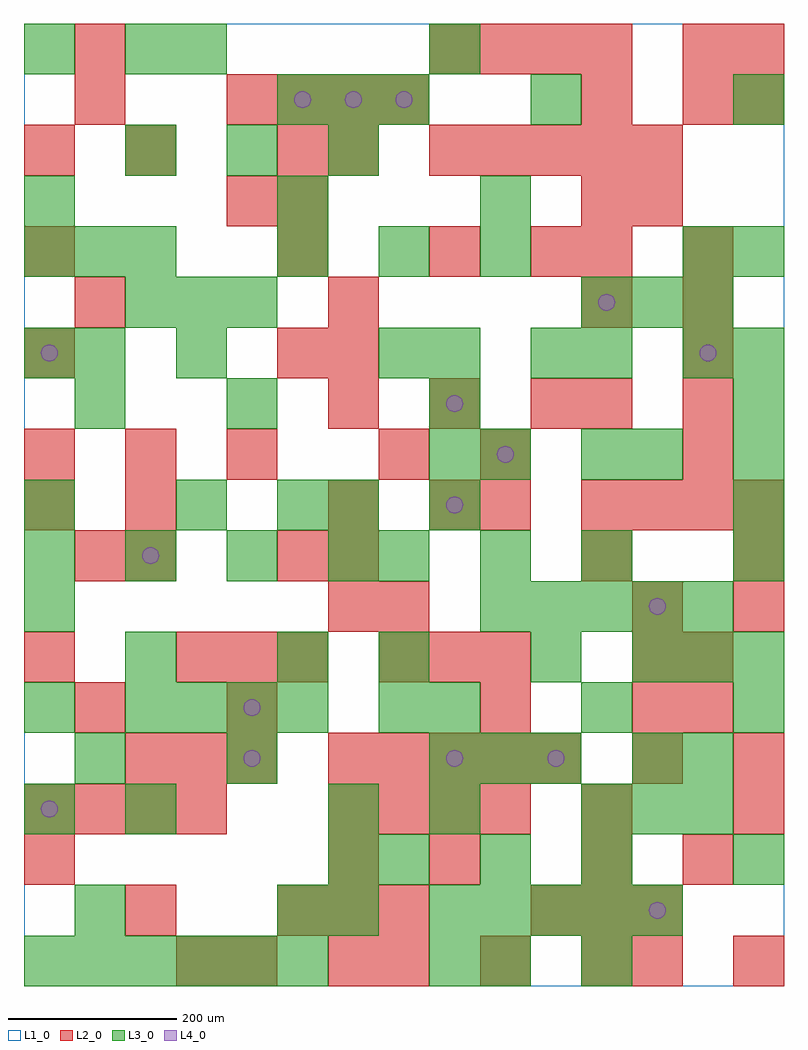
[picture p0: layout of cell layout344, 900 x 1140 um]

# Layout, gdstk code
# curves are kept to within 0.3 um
import gdstk
lib = gdstk.Library(unit=1e-6, precision=1e-09)
def R(c, l, rs):  # rectangles x0, y0, x1, y1
    for r in rs: c.add(gdstk.rectangle(r[:2], r[2:], *l))
def A(c, l, x, y, w, h, nx, ny, dx, dy):  # array of equal rectangles
    R(c, l, [(x+i*dx, y+j*dy, x+i*dx+w, y+j*dy+h) for i in range(nx) for j in range(ny)])
def P(c, l, *ps):  # polygons
    for p in ps: c.add(gdstk.Polygon(p, *l))
L1_0 = (1, 0)
L2_0 = (2, 0)
L3_0 = (3, 0)
L4_0 = (4, 0)

layout344 = lib.new_cell('layout344')
R(layout344, L1_0, [(0,0,900,1140)])
A(layout344, L2_0, 420, 0, 60, 60, 3, 1, 120, 0)
A(layout344, L2_0, 300, 60, 60, 60, 3, 1, 60, 0)
A(layout344, L2_0, 600, 60, 60, 60, 3, 1, 60, 0)
A(layout344, L2_0, 0, 180, 60, 60, 4, 1, 60, 0)
A(layout344, L2_0, 360, 180, 60, 60, 4, 1, 60, 0)
A(layout344, L2_0, 120, 240, 60, 60, 3, 1, 60, 0)
A(layout344, L2_0, 360, 240, 60, 60, 5, 1, 60, 0)
A(layout344, L2_0, 720, 240, 60, 60, 1, 4, 0, 60)
A(layout344, L2_0, 0, 360, 60, 60, 1, 3, 0, 180)
A(layout344, L2_0, 180, 360, 60, 60, 3, 1, 60, 0)
A(layout344, L2_0, 420, 360, 60, 60, 3, 1, 60, 0)
A(layout344, L2_0, 360, 420, 60, 60, 1, 3, 0, 60)
A(layout344, L2_0, 660, 480, 60, 60, 1, 3, 0, 180)
A(layout344, L2_0, 660, 540, 60, 60, 4, 1, 60, 0)
A(layout344, L2_0, 0, 600, 60, 60, 3, 1, 120, 0)
A(layout344, L2_0, 780, 600, 60, 60, 1, 5, 0, 60)
A(layout344, L2_0, 360, 660, 60, 60, 3, 1, 120, 0)
A(layout344, L2_0, 60, 780, 60, 60, 3, 1, 300, 0)
A(layout344, L2_0, 300, 840, 60, 60, 1, 3, 0, 60)
A(layout344, L2_0, 480, 960, 60, 60, 5, 1, 60, 0)
A(layout344, L2_0, 240, 1020, 60, 60, 4, 1, 60, 0)
A(layout344, L2_0, 480, 1080, 60, 60, 4, 1, 60, 0)
R(layout344, L2_0, [(180,0,240,60), (240,0,300,60), (360,0,420,60), (720,0,780,60), (840,0,900,60), (120,60,180,120), (0,120,60,180), (360,120,420,180), (480,120,540,180), (660,120,720,180), (780,120,840,180), (660,180,720,240), (840,180,900,240), (840,240,900,300), (60,300,120,360), (240,300,300,360), (540,300,600,360), (780,300,840,360), (780,360,840,420), (420,420,480,480), (840,420,900,480), (60,480,120,540), (120,480,180,540), (300,480,360,540), (840,480,900,540), (120,540,180,600), (480,540,540,600), (540,540,600,600), (420,600,480,660), (540,600,600,660), (300,720,360,780), (360,720,420,780), (0,840,60,900), (480,840,540,900), (600,840,660,900), (240,900,300,960), (660,900,720,960), (720,900,780,960), (0,960,60,1020), (120,960,180,1020), (360,960,420,1020), (60,1020,120,1080), (660,1020,720,1080), (780,1020,840,1080), (840,1020,900,1080), (60,1080,120,1140), (780,1080,840,1140), (840,1080,900,1140)])
A(layout344, L3_0, 0, 0, 60, 60, 6, 1, 60, 0)
A(layout344, L3_0, 360, 60, 60, 60, 1, 3, 0, 60)
A(layout344, L3_0, 480, 60, 60, 60, 5, 1, 60, 0)
A(layout344, L3_0, 420, 120, 60, 60, 3, 2, 120, 360)
A(layout344, L3_0, 0, 180, 60, 60, 1, 4, 0, 120)
A(layout344, L3_0, 660, 180, 60, 60, 3, 2, 60, 600)
A(layout344, L3_0, 480, 240, 60, 60, 3, 1, 60, 0)
A(layout344, L3_0, 120, 300, 60, 60, 4, 1, 60, 0)
A(layout344, L3_0, 480, 300, 60, 60, 3, 1, 180, 0)
A(layout344, L3_0, 720, 360, 60, 60, 3, 1, 60, 0)
A(layout344, L3_0, 540, 420, 60, 60, 5, 1, 60, 0)
A(layout344, L3_0, 0, 480, 60, 60, 4, 1, 120, 0)
A(layout344, L3_0, 840, 480, 60, 60, 1, 5, 0, 60)
A(layout344, L3_0, 480, 540, 60, 60, 1, 4, 0, 60)
A(layout344, L3_0, 0, 720, 60, 60, 1, 3, 0, 180)
A(layout344, L3_0, 120, 780, 60, 60, 3, 1, 60, 0)
A(layout344, L3_0, 0, 840, 60, 60, 3, 1, 60, 0)
A(layout344, L3_0, 300, 840, 60, 60, 3, 1, 120, 0)
A(layout344, L3_0, 120, 960, 60, 60, 3, 1, 120, 0)
A(layout344, L3_0, 300, 1020, 60, 60, 3, 1, 60, 0)
R(layout344, L3_0, [(480,0,540,60), (540,0,600,60), (660,0,720,60), (60,60,120,120), (300,60,360,120), (840,120,900,180), (120,180,180,240), (480,180,540,240), (60,240,120,300), (240,240,300,300), (720,240,780,300), (780,240,840,300), (420,300,480,360), (120,360,180,420), (300,360,360,420), (420,360,480,420), (600,360,660,420), (180,540,240,600), (300,540,360,600), (360,540,420,600), (540,600,600,660), (660,600,720,660), (720,600,780,660), (60,660,120,720), (240,660,300,720), (60,720,120,780), (180,720,240,780), (420,720,480,780), (600,720,660,780), (660,720,720,780), (780,720,840,780), (780,840,840,900), (840,840,900,900), (300,900,360,960), (540,900,600,960), (600,1020,660,1080), (840,1020,900,1080), (120,1080,180,1140), (180,1080,240,1140), (480,1080,540,1140)])
P(layout344, L4_0, [(40,210),(39.239,213.827),(37.071,217.071),(33.827,219.239),(30,220),(26.173,219.239),(22.929,217.071),(20.761,213.827),(20,210),(20.761,206.173),(22.929,202.929),(26.173,200.761),(30,200),(33.827,200.761),(37.071,202.929),(39.239,206.173)],
  [(40,750),(39.239,753.827),(37.071,757.071),(33.827,759.239),(30,760),(26.173,759.239),(22.929,757.071),(20.761,753.827),(20,750),(20.761,746.173),(22.929,742.929),(26.173,740.761),(30,740),(33.827,740.761),(37.071,742.929),(39.239,746.173)],
  [(160,510),(159.239,513.827),(157.071,517.071),(153.827,519.239),(150,520),(146.173,519.239),(142.929,517.071),(140.761,513.827),(140,510),(140.761,506.173),(142.929,502.929),(146.173,500.761),(150,500),(153.827,500.761),(157.071,502.929),(159.239,506.173)],
  [(280,270),(279.239,273.827),(277.071,277.071),(273.827,279.239),(270,280),(266.173,279.239),(262.929,277.071),(260.761,273.827),(260,270),(260.761,266.173),(262.929,262.929),(266.173,260.761),(270,260),(273.827,260.761),(277.071,262.929),(279.239,266.173)],
  [(280,330),(279.239,333.827),(277.071,337.071),(273.827,339.239),(270,340),(266.173,339.239),(262.929,337.071),(260.761,333.827),(260,330),(260.761,326.173),(262.929,322.929),(266.173,320.761),(270,320),(273.827,320.761),(277.071,322.929),(279.239,326.173)],
  [(340,1050),(339.239,1053.827),(337.071,1057.071),(333.827,1059.239),(330,1060),(326.173,1059.239),(322.929,1057.071),(320.761,1053.827),(320,1050),(320.761,1046.173),(322.929,1042.929),(326.173,1040.761),(330,1040),(333.827,1040.761),(337.071,1042.929),(339.239,1046.173)],
  [(400,1050),(399.239,1053.827),(397.071,1057.071),(393.827,1059.239),(390,1060),(386.173,1059.239),(382.929,1057.071),(380.761,1053.827),(380,1050),(380.761,1046.173),(382.929,1042.929),(386.173,1040.761),(390,1040),(393.827,1040.761),(397.071,1042.929),(399.239,1046.173)],
  [(460,1050),(459.239,1053.827),(457.071,1057.071),(453.827,1059.239),(450,1060),(446.173,1059.239),(442.929,1057.071),(440.761,1053.827),(440,1050),(440.761,1046.173),(442.929,1042.929),(446.173,1040.761),(450,1040),(453.827,1040.761),(457.071,1042.929),(459.239,1046.173)],
  [(520,270),(519.239,273.827),(517.071,277.071),(513.827,279.239),(510,280),(506.173,279.239),(502.929,277.071),(500.761,273.827),(500,270),(500.761,266.173),(502.929,262.929),(506.173,260.761),(510,260),(513.827,260.761),(517.071,262.929),(519.239,266.173)],
  [(520,570),(519.239,573.827),(517.071,577.071),(513.827,579.239),(510,580),(506.173,579.239),(502.929,577.071),(500.761,573.827),(500,570),(500.761,566.173),(502.929,562.929),(506.173,560.761),(510,560),(513.827,560.761),(517.071,562.929),(519.239,566.173)],
  [(520,690),(519.239,693.827),(517.071,697.071),(513.827,699.239),(510,700),(506.173,699.239),(502.929,697.071),(500.761,693.827),(500,690),(500.761,686.173),(502.929,682.929),(506.173,680.761),(510,680),(513.827,680.761),(517.071,682.929),(519.239,686.173)],
  [(580,630),(579.239,633.827),(577.071,637.071),(573.827,639.239),(570,640),(566.173,639.239),(562.929,637.071),(560.761,633.827),(560,630),(560.761,626.173),(562.929,622.929),(566.173,620.761),(570,620),(573.827,620.761),(577.071,622.929),(579.239,626.173)],
  [(640,270),(639.239,273.827),(637.071,277.071),(633.827,279.239),(630,280),(626.173,279.239),(622.929,277.071),(620.761,273.827),(620,270),(620.761,266.173),(622.929,262.929),(626.173,260.761),(630,260),(633.827,260.761),(637.071,262.929),(639.239,266.173)],
  [(700,810),(699.239,813.827),(697.071,817.071),(693.827,819.239),(690,820),(686.173,819.239),(682.929,817.071),(680.761,813.827),(680,810),(680.761,806.173),(682.929,802.929),(686.173,800.761),(690,800),(693.827,800.761),(697.071,802.929),(699.239,806.173)],
  [(760,90),(759.239,93.827),(757.071,97.071),(753.827,99.239),(750,100),(746.173,99.239),(742.929,97.071),(740.761,93.827),(740,90),(740.761,86.173),(742.929,82.929),(746.173,80.761),(750,80),(753.827,80.761),(757.071,82.929),(759.239,86.173)],
  [(760,450),(759.239,453.827),(757.071,457.071),(753.827,459.239),(750,460),(746.173,459.239),(742.929,457.071),(740.761,453.827),(740,450),(740.761,446.173),(742.929,442.929),(746.173,440.761),(750,440),(753.827,440.761),(757.071,442.929),(759.239,446.173)],
  [(820,750),(819.239,753.827),(817.071,757.071),(813.827,759.239),(810,760),(806.173,759.239),(802.929,757.071),(800.761,753.827),(800,750),(800.761,746.173),(802.929,742.929),(806.173,740.761),(810,740),(813.827,740.761),(817.071,742.929),(819.239,746.173)])

lib.write_gds('layout344.gds')
